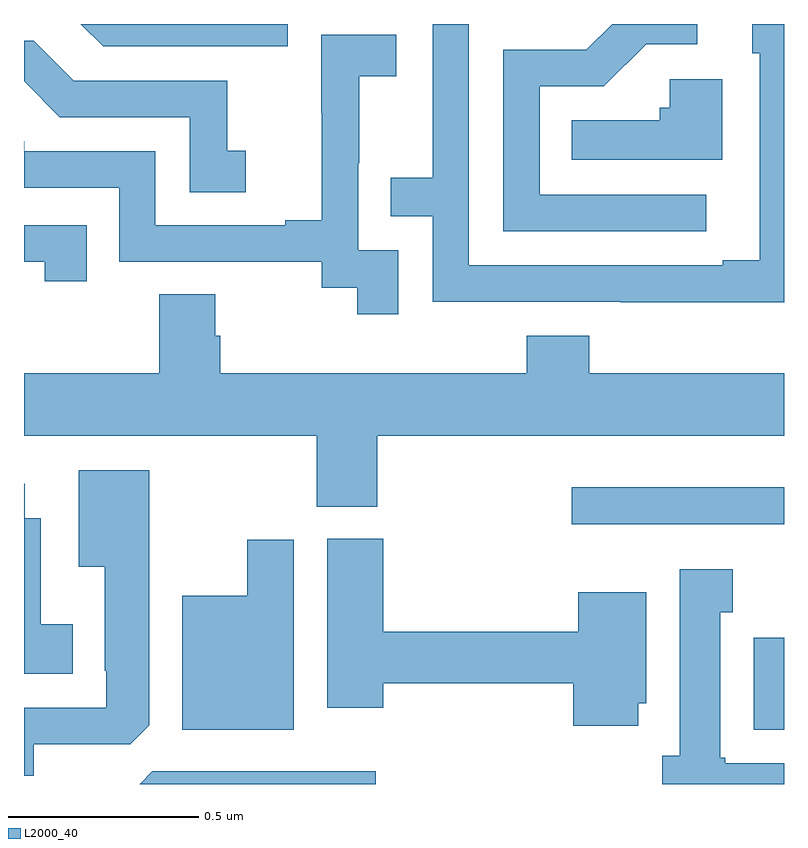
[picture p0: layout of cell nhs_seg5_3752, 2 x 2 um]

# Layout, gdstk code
import gdstk
lib = gdstk.Library(unit=1e-6, precision=1e-09)
def R(c, l, rs):  # rectangles x0, y0, x1, y1
    for r in rs: c.add(gdstk.rectangle(r[:2], r[2:], *l))
def P(c, l, *ps):  # polygons
    for p in ps: c.add(gdstk.Polygon(p, *l))
L2000_40 = (2000, 40)

nhs_seg5_3752 = lib.new_cell('nhs_seg5_3752')
R(nhs_seg5_3752, L2000_40, [(162.92,899.942,163,900.184), (162.441,900.483,163,900.58)])
P(nhs_seg5_3752, L2000_40, [(163,901.799),(162.917,901.799),(162.917,901.722),(162.936,901.722),(162.936,901.177),(162.839,901.177),(162.839,901.164),(162.171,901.164),(162.171,901.799),(162.075,901.799),(162.075,901.394),(161.965,901.394),(161.965,901.293),(162.075,901.293),(162.075,901.068),(162.571,901.068),(162.571,901.067),(163,901.067)],
  [(161.694,901.799),(161.149,901.799),(161.208,901.74),(161.694,901.74)],
  [(162.796,901.35),(162.357,901.35),(162.357,901.635),(162.526,901.635),(162.637,901.746),(162.772,901.746),(162.772,901.799),(162.548,901.799),(162.48,901.731),(162.261,901.731),(162.261,901.254),(162.796,901.254)],
  [(161.985,901.203),(161.88,901.203),(161.88,901.433),(161.882,901.433),(161.882,901.661),(161.98,901.661),(161.98,901.771),(161.782,901.771),(161.782,901.565),(161.783,901.565),(161.783,901.282),(161.687,901.282),(161.687,901.269),(161.346,901.269),(161.346,901.464),(161.001,901.464),(161.001,901.491),(161,901.491),(161,901.368),(161.25,901.368),(161.25,901.173),(161.784,901.173),(161.784,901.105),(161.877,901.105),(161.877,901.035),(161.985,901.035)],
  [(161.584,901.465),(161.535,901.465),(161.535,901.65),(161.131,901.65),(161.026,901.755),(161,901.755),(161,901.648),(161.094,901.554),(161.436,901.554),(161.436,901.356),(161.584,901.356)],
  [(162.838,901.654),(162.699,901.654),(162.699,901.578),(162.673,901.578),(162.673,901.546),(162.442,901.546),(162.442,901.442),(162.838,901.442)],
  [(161.165,901.269),(161,901.269),(161,901.173),(161.054,901.173),(161.054,901.122),(161.165,901.122)],
  [(161.93,900.716),(163,900.716),(163,900.88),(162.488,900.88),(162.488,900.979),(162.323,900.979),(162.323,900.88),(161.516,900.88),(161.516,900.978),(161.503,900.978),(161.503,901.088),(161.356,901.088),(161.356,900.88),(161,900.88),(161,900.716),(161.77,900.716),(161.77,900.529),(161.93,900.529)],
  [(161.026,899.904),(161.28,899.904),(161.329,899.953),(161.329,900.625),(161.144,900.625),(161.144,900.371),(161.213,900.371),(161.213,900.097),(161.217,900.097),(161.217,900),(161,900),(161,899.821),(161.026,899.821)],
  [(161.128,900.22),(161.044,900.22),(161.044,900.499),(161.002,900.499),(161.002,900.589),(161,900.589),(161,900.089),(161.128,900.089)],
  [(162.616,900.012),(162.637,900.012),(162.637,900.304),(162.458,900.304),(162.458,900.2),(161.945,900.2),(161.945,900.444),(161.798,900.444),(161.798,900),(161.945,900),(161.945,900.064),(162.446,900.064),(162.446,899.952),(162.616,899.952)],
  [(161.71,900.442),(161.588,900.442),(161.588,900.295),(161.417,900.295),(161.417,899.942),(161.71,899.942)],
  [(163,899.854),(162.846,899.854),(162.846,899.868),(162.832,899.868),(162.832,900.251),(162.865,900.251),(162.865,900.364),(162.725,900.364),(162.725,899.874),(162.68,899.874),(162.68,899.799),(163,899.799)],
  [(161.926,899.832),(161.337,899.832),(161.305,899.799),(161.926,899.799)])

lib.write_gds('nhs_seg5_3752.gds')
